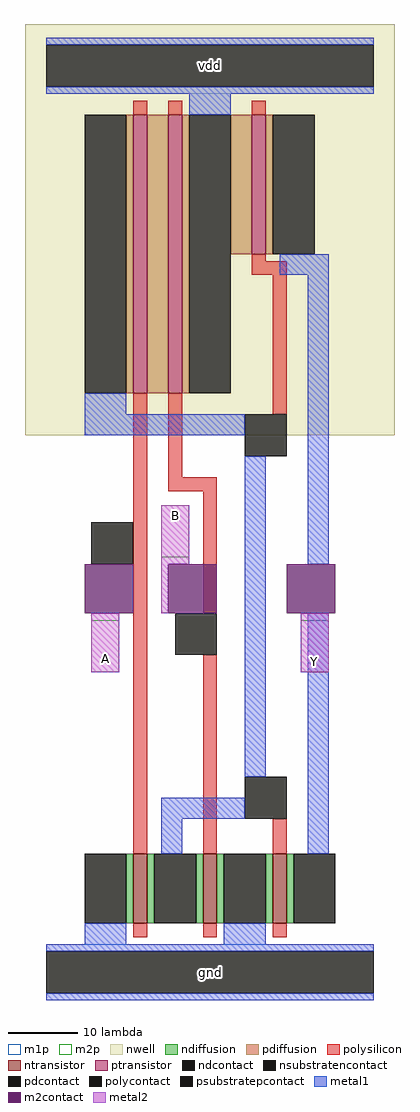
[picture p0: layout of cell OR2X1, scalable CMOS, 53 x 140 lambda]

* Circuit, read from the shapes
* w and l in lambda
.subckt OR2X1 A B Y vdd gnd
M1 n1 A gnd gnd nfet w=10 l=2
M2 gnd B n1 gnd nfet w=10 l=2
M3 Y n1 gnd gnd nfet w=10 l=2
M4 n2 A n1 vdd pfet w=40 l=2
M5 vdd B n2 vdd pfet w=40 l=2
M6 Y n1 vdd vdd pfet w=20 l=2
.ends

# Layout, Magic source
magic
tech scmos
magscale 1 2
<< nwell >>
rect -13 154 93 272
<< ntransistor >>
rect 18 14 22 34
rect 38 14 42 34
rect 58 14 62 34
<< ptransistor >>
rect 18 166 22 246
rect 28 166 32 246
rect 52 206 56 246
<< ndiffusion >>
rect 16 14 18 34
rect 22 14 24 34
rect 36 14 38 34
rect 42 14 44 34
rect 56 14 58 34
rect 62 14 64 34
<< pdiffusion >>
rect 16 166 18 246
rect 22 166 28 246
rect 32 166 34 246
rect 46 206 52 246
rect 56 206 58 246
<< ndcontact >>
rect 4 14 16 34
rect 24 14 36 34
rect 44 14 56 34
rect 64 14 76 34
<< pdcontact >>
rect 4 166 16 246
rect 34 166 46 246
rect 58 206 70 246
<< psubstratepcontact >>
rect -7 -6 87 6
<< nsubstratencontact >>
rect -7 254 87 266
<< polysilicon >>
rect 18 246 22 250
rect 28 246 32 250
rect 52 246 56 250
rect 52 204 56 206
rect 52 200 62 204
rect 18 34 22 166
rect 28 142 32 166
rect 58 160 62 200
rect 28 138 42 142
rect 38 103 42 138
rect 38 34 42 91
rect 58 34 62 44
rect 18 10 22 14
rect 38 10 42 14
rect 58 10 62 14
<< polycontact >>
rect 6 117 18 129
rect 50 148 62 160
rect 30 91 42 103
rect 50 44 62 56
<< metal1 >>
rect -7 266 87 268
rect -7 252 87 254
rect 34 246 46 252
rect 60 200 74 206
rect 4 160 16 166
rect 4 154 50 160
rect 50 56 56 148
rect 68 117 74 200
rect 26 44 50 50
rect 26 34 32 44
rect 68 34 74 103
rect 4 8 16 14
rect 44 8 56 14
rect -7 6 87 8
rect -7 -8 87 -6
<< m2contact >>
rect 4 103 18 117
rect 28 103 42 117
rect 62 103 76 117
<< metal2 >>
rect 26 117 34 134
rect 26 103 28 117
rect 6 86 14 103
rect 66 86 74 103
<< m1p >>
rect -7 252 87 268
rect -7 -8 87 8
<< m2p >>
rect 26 119 34 134
rect 6 86 14 101
rect 66 86 74 101
<< labels >>
rlabel metal2 10 90 10 90 1 A
port 1 n signal input
rlabel metal2 30 131 30 131 1 B
port 2 n signal input
rlabel metal2 70 89 70 89 5 Y
port 3 n signal output
rlabel metal1 -7 252 87 268 0 vdd
port 4 nsew power bidirectional abutment
rlabel metal1 -7 -8 87 8 0 gnd
port 5 nsew ground bidirectional abutment
<< properties >>
string FIXED_BBOX 0 0 80 260
string LEFclass CORE
string LEFsite core
string LEFsymmetry X Y
<< end >>
